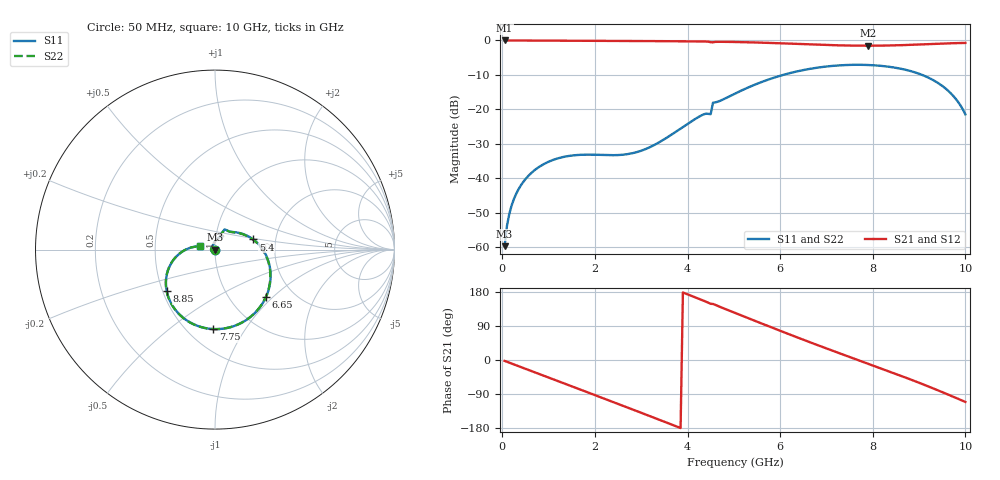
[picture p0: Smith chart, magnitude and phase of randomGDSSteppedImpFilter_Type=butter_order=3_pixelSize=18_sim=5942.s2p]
! freq	dB(S11)	phase(S11)	dB(S12)	phase(S12)
!  dB(S21)	phase(S21)	dB(S22)	phase(S22)
!S-par simulation data
#  GHz  S  DB  R 50
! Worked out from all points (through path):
!   200 points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, 50 MHz to 10 GHz, reference 50 ohm
!   highest |S21| = -0.01 dB at 50 MHz (marker M1); lowest = -1.5 dB at 7.9 GHz (marker M2)
!   group delay of S21, straight-line fit = 130 ps
!   lowest |S11| = -59.7 dB at 50 MHz (marker M3), VSWR 1.00, Z = 50 - j0.099 ohm
!   |S11| at or under -10 dB: start of sweep to 6.067 GHz; 9.064 GHz to end of sweep
!   |S22| runs from -59.7 to -7.1 dB; largest |S21 - S12| = 0
!   S11 on the Smith chart (normalised r, x): 50 MHz: 1.00, -0.00; 5.4 GHz: 1.53, +0.18; 6.65 GHz: 1.46, -0.91; 7.75 GHz: 0.66, -0.73; 8.85 GHz: 0.53, -0.28; 10 GHz: 0.85, +0.03
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0.05  -59.71 -73.3  -0.01 -2.4  -0.01 -2.4  -59.75 -73.3
0.1  -53.88 -81.6  -0.01 -4.7  -0.01 -4.7  -53.88 -81.7
0.2  -47.96 -92.7  -0.02 -9.3  -0.02 -9.3  -47.96 -92.8
0.5  -40.26 -112.2  -0.03 -23.2  -0.03 -23.2  -40.26 -112.4
1.05  -34.92 -140.8  -0.06 -48.6  -0.06 -48.6  -34.92 -141.3
1.75  -33.17 -175.6  -0.10 -81.0  -0.10 -81.0  -33.17 -176.5
2.55  -33.23 144.2  -0.14 -118.2  -0.14 -118.2  -33.21 142.2
3.4  -29.47 104.6  -0.20 -158.1  -0.20 -158.1  -29.44 102.4
4.2  -22.52 69.4  -0.28 163.7  -0.28 163.7  -22.51 68.0
4.5  -21.39 70.6  -0.53 148.2  -0.53 148.2  -21.43 69.3
4.55  -18.06 64.5  -0.54 147.9  -0.54 147.9  -18.08 63.6
5.05  -15.27 31.4  -0.46 123.1  -0.46 123.1  -15.27 30.6
5.4  -13.14 14.9  -0.57 106.1  -0.57 106.1  -13.14 14.3
6  -10.26 -13.1  -0.82 77.1  -0.82 77.1  -10.26 -13.6
6.65  -8.23 -42.9  -1.16 46.5  -1.16 46.5  -8.23 -43.3
6.7  -8.12 -45.1  -1.18 44.2  -1.18 44.2  -8.12 -45.5
7.75  -7.08 -91.2  -1.53 -3.1  -1.53 -3.1  -7.07 -91.5
7.9  -7.13 -97.7  -1.53 -9.8  -1.53 -9.8  -7.13 -98.0
8.35  -7.64 -117.2  -1.46 -29.9  -1.46 -29.9  -7.64 -117.5
8.85  -9.02 -139.5  -1.26 -52.9  -1.26 -52.9  -9.02 -139.7
9.55  -13.71 -172.1  -0.89 -87.3  -0.89 -87.3  -13.70 -172.3
10  -21.46 167.4  -0.72 -110.7  -0.72 -110.7  -21.43 167.4
